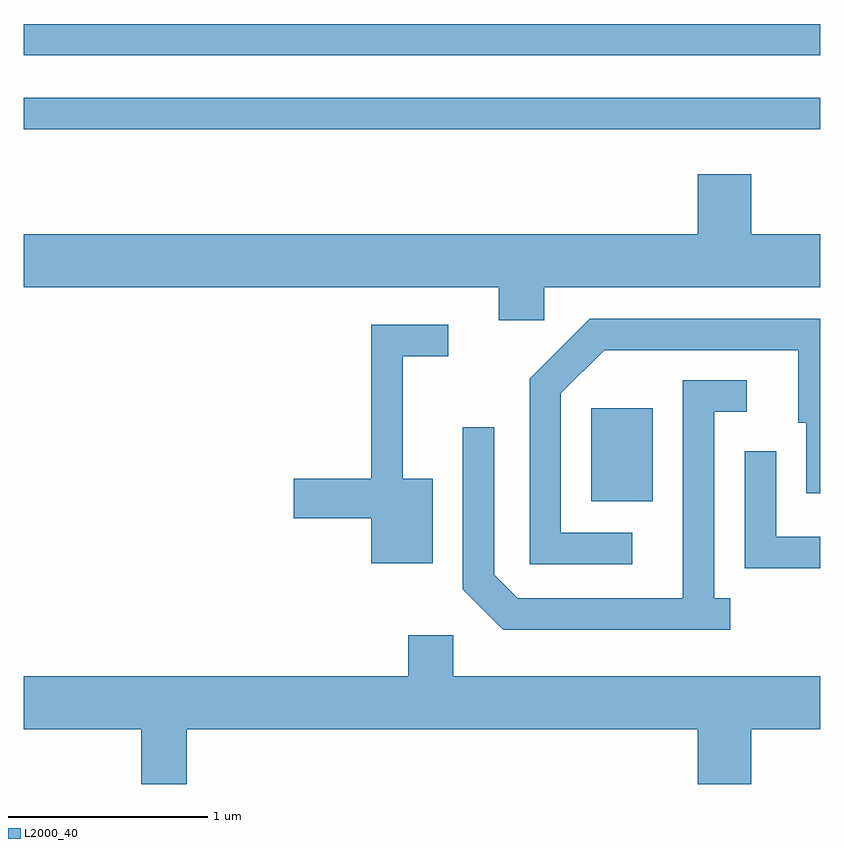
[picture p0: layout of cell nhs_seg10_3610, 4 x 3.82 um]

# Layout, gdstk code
import gdstk
lib = gdstk.Library(unit=1e-6, precision=1e-09)
def R(c, l, rs):  # rectangles x0, y0, x1, y1
    for r in rs: c.add(gdstk.rectangle(r[:2], r[2:], *l))
def P(c, l, *ps):  # polygons
    for p in ps: c.add(gdstk.Polygon(p, *l))
L2000_40 = (2000, 40)

nhs_seg10_3610 = lib.new_cell('nhs_seg10_3610')
R(nhs_seg10_3610, L2000_40, [(294.461,2123.941,294.769,2124.409), (291.611,2125.811,295.611,2125.969), (291.611,2126.181,295.611,2126.339)])
P(nhs_seg10_3610, L2000_40, [(294.224,2125.016),(295.611,2125.016),(295.611,2125.284),(295.264,2125.284),(295.264,2125.584),(294.996,2125.584),(294.996,2125.284),(291.611,2125.284),(291.611,2125.016),(293.996,2125.016),(293.996,2124.851),(294.224,2124.851)],
  [(294.668,2123.784),(294.309,2123.784),(294.309,2124.484),(294.527,2124.701),(295.501,2124.701),(295.501,2124.336),(295.541,2124.336),(295.541,2123.981),(295.611,2123.981),(295.611,2124.859),(294.454,2124.859),(294.151,2124.557),(294.151,2123.626),(294.668,2123.626)],
  [(293.664,2124.054),(293.514,2124.054),(293.514,2124.671),(293.743,2124.671),(293.743,2124.829),(293.356,2124.829),(293.356,2124.054),(292.966,2124.054),(292.966,2123.856),(293.356,2123.856),(293.356,2123.631),(293.664,2123.631)],
  [(295.158,2123.454),(295.079,2123.454),(295.079,2124.391),(295.243,2124.391),(295.243,2124.549),(294.921,2124.549),(294.921,2123.454),(294.092,2123.454),(293.974,2123.572),(293.974,2124.313),(293.816,2124.313),(293.816,2123.499),(294.019,2123.296),(295.158,2123.296)],
  [(295.611,2123.764),(295.389,2123.764),(295.389,2124.193),(295.231,2124.193),(295.231,2123.606),(295.611,2123.606)],
  [(292.429,2122.796),(294.996,2122.796),(294.996,2122.522),(295.264,2122.522),(295.264,2122.796),(295.611,2122.796),(295.611,2123.064),(293.769,2123.064),(293.769,2123.269),(293.541,2123.269),(293.541,2123.064),(291.611,2123.064),(291.611,2122.796),(292.201,2122.796),(292.201,2122.522),(292.429,2122.522)])

lib.write_gds('nhs_seg10_3610.gds')
